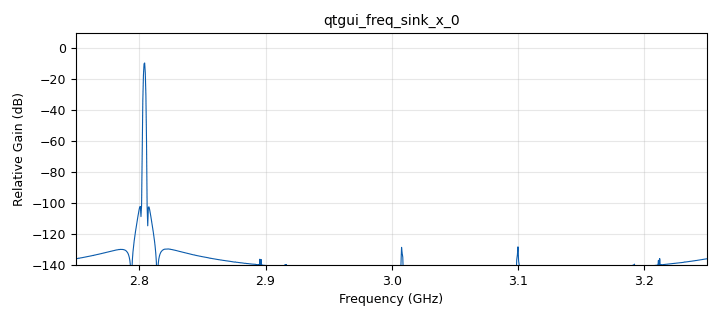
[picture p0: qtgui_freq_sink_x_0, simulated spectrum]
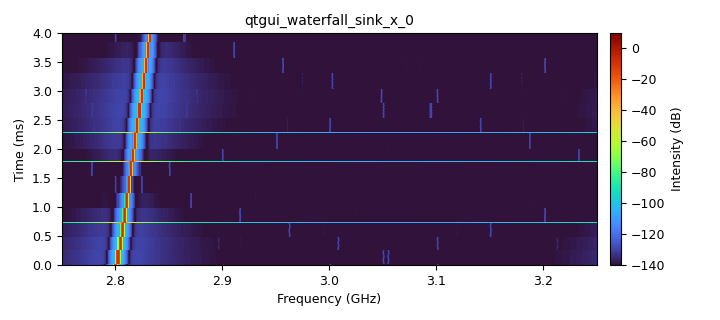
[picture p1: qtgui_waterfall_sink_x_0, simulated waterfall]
options:
  parameters:
    author: simon
    generate_options: qt_gui
    id: sweep_stepping
    output_language: python
    title: Not titled yet
  states: {}

blocks:
- name: LO_freq
  id: variable
  parameters:
    value: 2800e6
  states: {}
- name: current_freq
  id: variable
  parameters:
    value: python_mod.sweeper(fun_prob)
  states: {}
- name: freq_dev
  id: variable
  parameters:
    value: 200e6
  states: {}
- name: frequency
  id: variable_qtgui_label
  parameters:
    label: frequency
    type: real
    value: current_freq
  states: {}
- name: fun_prob
  id: variable_function_probe
  parameters:
    block_id: probSign
    function_name: level
    poll_rate: '100'
    value: '0'
  states: {}
- name: samp_rate
  id: variable
  parameters:
    value: 500e6
  states: {}
- name: variable_qtgui_label_0
  id: variable_qtgui_label
  parameters:
    label: amp
    type: real
    value: fun_prob
  states: {}
- name: analog_sig_source_x_0
  id: analog_sig_source_x
  parameters:
    amp: '1'
    freq: '0'
    offset: '0'
    phase: '0'
    samp_rate: samp_rate
    type: float
    waveform: analog.GR_CONST_WAVE
  states: {}
- name: analog_sig_source_x_0_0
  id: analog_sig_source_x
  parameters:
    amp: '1'
    freq: current_freq
    offset: '0'
    phase: '0'
    samp_rate: samp_rate
    type: complex
    waveform: analog.GR_COS_WAVE
  states: {}
- name: blocks_message_debug_0
  id: blocks_message_debug
  parameters: {}
  states: {}
- name: blocks_message_strobe_0_0
  id: blocks_message_strobe
  parameters:
    msg: msg_source.msg_dic
    period: '1000'
  states: {}
- name: blocks_throttle2_0
  id: blocks_throttle2
  parameters:
    samples_per_second: samp_rate
    type: float
  states: {}
- name: iio_attr_sink_0
  id: iio_attr_sink
  parameters:
    attr_type: '0'
    channel: '"altvoltage1"'
    device: '"ad9361-phy"'
    output: 'True'
    uri: '"ip:192.168.2.1"'
  states: {}
- name: msg_source
  id: epy_module
  parameters:
    source_code: |-
      import pmt
      key0 = pmt.intern("rf_bandwidth")
      val0 = pmt.intern("23000000")
      msg_dic = pmt.make_dict()
      msg_dic = pmt.dict_add(msg_dic, key0, val0)
  states: {}
- name: probSign
  id: blocks_probe_signal_x
  parameters:
    type: float
  states: {}
- name: python_mod
  id: epy_module
  parameters:
    source_code: |-
      # this module will be imported in the into your flowgraph

      f1 = 2800e6
      f2 = 3200e6
      # f1 = 2800e6
      # f2 = 3200e6

      f=f1
      NR_OF_STEPS = 200
      step = (f2 - f1) / NR_OF_STEPS
      #counter = 0

      def sweeper(prob_lvl):
          global f1, f2, f, step#, counter
          if prob_lvl:
              f += step
              #counter +=1
          if f >= f2:
              f = f1
              #counter = 0
          #print(bool(prob_lvl), counter)
          return f
  states: {}
- name: qtgui_freq_sink_x_0
  id: qtgui_freq_sink_x
  parameters:
    bw: samp_rate
    fc: LO_freq + freq_dev
    fftsize: '1024'
    grid: 'True'
    type: complex
  states: {}
- name: qtgui_waterfall_sink_x_0
  id: qtgui_waterfall_sink_x
  parameters:
    bw: samp_rate
    fc: LO_freq + freq_dev
    fftsize: '1024'
    grid: 'True'
    type: complex
  states: {}

connections:
- [analog_sig_source_x_0, '0', blocks_throttle2_0, '0']
- [analog_sig_source_x_0_0, '0', blocks_message_strobe_0_0, set_msg]
- [analog_sig_source_x_0_0, '0', qtgui_freq_sink_x_0, '0']
- [analog_sig_source_x_0_0, '0', qtgui_waterfall_sink_x_0, '0']
- [blocks_message_strobe_0_0, strobe, blocks_message_debug_0, print]
- [blocks_message_strobe_0_0, strobe, iio_attr_sink_0, attr]
- [blocks_throttle2_0, '0', probSign, '0']

metadata:
  file_format: 1
  grc_version: 3.10.11.0
